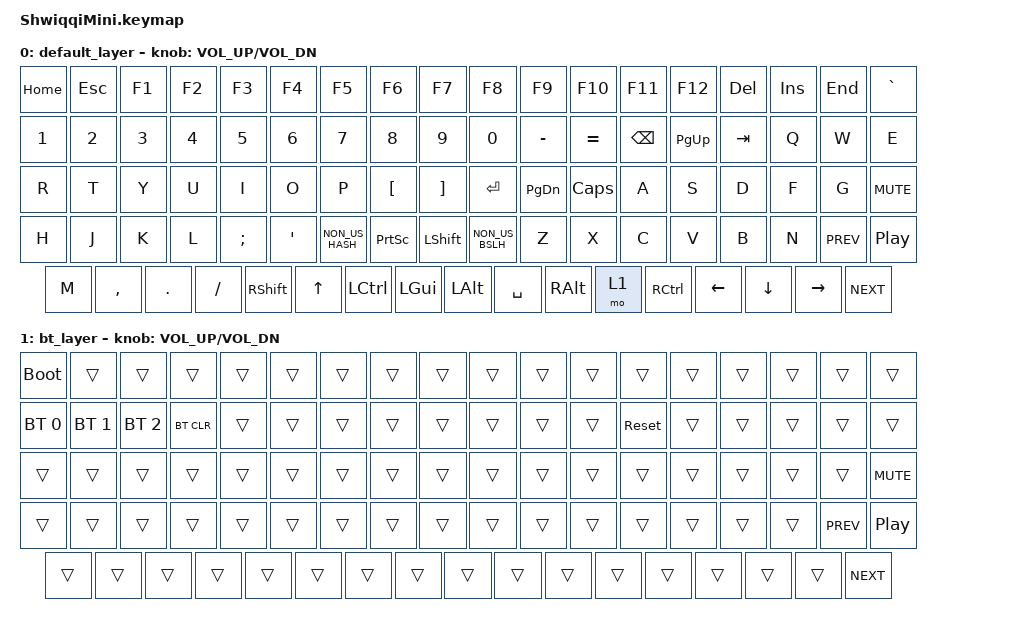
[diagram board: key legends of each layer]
#include <behaviors.dtsi>
#include <dt-bindings/zmk/keys.h>
#include <dt-bindings/zmk/bt.h>

/ {
    keymap {
        compatible = "zmk,keymap";

        default_layer {
            // DUPLEX GRID
            // HOME ESC F1 F2 F3 F4 F5 F6 F7 F8 F9 F10 F11 F12 DEL INS END GRAVE
            // 1 2 3 4 5 6 7 8 9 0 MINUS EQUAL BSPC PG_UP TAB Q W E
            // R T Y U I O P LBKT RBKT RET PG_DN CLCK A S D F G C_MUTE
            // H J K L SEMI SQT NON_US_HASH PSCRN LSHFT NON_US_BSLH Z X C V B N C_PREV C_PLAY_PAUSE
            // M , . LFSLH RSHFT UP LCTRL LGUI LALT SPACE RALT MEN RCTRL LEFT DOWN RIGHT C_NEXT
            bindings = <
                &kp HOME &kp ESC &kp F1 &kp F2 &kp F3 &kp F4 &kp F5 &kp F6 &kp F7 &kp F8 &kp F9 &kp F10 &kp F11 &kp F12 &kp DEL &kp INS &kp END &kp GRAVE
                &kp N1 &kp N2 &kp N3 &kp N4 &kp N5 &kp N6 &kp N7 &kp N8 &kp N9 &kp N0 &kp MINUS &kp EQUAL &kp BSPC &kp PG_UP &kp TAB &kp Q &kp W &kp E
                &kp R &kp T &kp Y &kp U &kp I &kp O &kp P &kp LBKT &kp RBKT &kp RET &kp PG_DN &kp CLCK &kp A &kp S &kp D &kp F &kp G &kp C_MUTE
                &kp H &kp J &kp K &kp L &kp SEMI &kp SQT &kp NON_US_HASH &kp PSCRN &kp LSHFT &kp NON_US_BSLH &kp Z &kp X &kp C &kp V &kp B &kp N &kp C_PREV &kp C_PLAY_PAUSE
                &kp M &kp COMMA &kp DOT &kp FSLH &kp RSHFT &kp UP &kp LCTRL &kp LGUI &kp LALT &kp SPACE &kp RALT &mo 1 &kp RCTRL &kp LEFT &kp DOWN &kp RIGHT &kp C_NEXT
            >;
            sensor-bindings = <&inc_dec_kp C_VOL_UP C_VOL_DN>;
        };

        bt_layer {
            bindings = <
                &bootloader &trans &trans &trans &trans &trans &trans &trans &trans &trans &trans &trans &trans &trans &trans &trans &trans &trans
                &bt BT_SEL 0 &bt BT_SEL 1 &bt BT_SEL 2 &bt BT_CLR &trans &trans &trans &trans &trans &trans &trans &trans &sys_reset &trans &trans &trans &trans &trans
                &trans &trans &trans &trans &trans &trans &trans &trans &trans &trans &trans &trans &trans &trans &trans &trans &trans &kp C_MUTE
                &trans &trans &trans &trans &trans &trans &trans &trans &trans &trans &trans &trans &trans &trans &trans &trans &kp C_PREV &kp C_PLAY_PAUSE
                &trans &trans &trans &trans &trans &trans &trans &trans &trans &trans &trans &trans &trans &trans &trans &trans &kp C_NEXT
            >;
            sensor-bindings = <&inc_dec_kp C_VOL_UP C_VOL_DN>;
        };
    };
};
